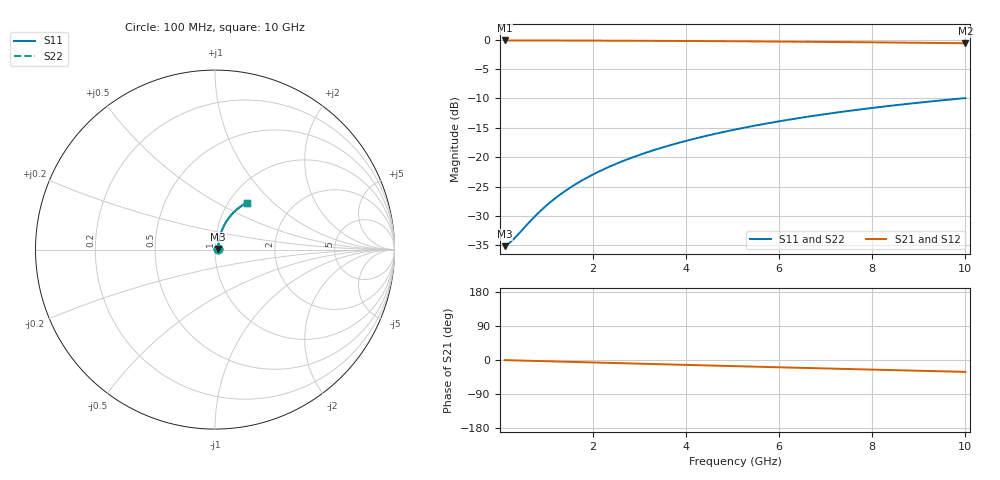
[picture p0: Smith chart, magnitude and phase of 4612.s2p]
# Hz S RI R 50.00
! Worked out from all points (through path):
!   100 points, 100 MHz to 10 GHz, reference 50 ohm
!   highest |S21| = -0.15 dB at 100 MHz (marker M1); lowest = -0.6 dB at 10 GHz (marker M2)
!   group delay of S21, straight-line fit = 8.72 ps
!   lowest |S11| = -35.1 dB at 100 MHz (marker M3), VSWR 1.04, Z = 51.7 + j0.349 ohm
!   |S11| at or under -10 dB: start of sweep to 9.936 GHz
!   |S22| runs from -35.1 to -10.0 dB; largest |S21 - S12| = 0
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1e8  0.0172 0.00337  0.9828 -0.00557  0.9828 -0.00557  0.0172 0.00337
2e8  0.0174 0.00673  0.9826 -0.0111  0.9826 -0.0111  0.0174 0.00673
3e8  0.0175 0.0101  0.9824 -0.0167  0.9824 -0.0167  0.0175 0.0101
6e8  0.0182 0.0202  0.9817 -0.0334  0.9817 -0.0334  0.0182 0.0202
8e8  0.0188 0.0269  0.981 -0.0445  0.981 -0.0445  0.0188 0.0269
9e8  0.0192 0.0302  0.9806 -0.05  0.9806 -0.05  0.0192 0.0302
1.1e9  0.02 0.0369  0.9796 -0.0611  0.9796 -0.0611  0.02 0.0369
1.4e9  0.0215 0.0468  0.9779 -0.0777  0.9779 -0.0777  0.0215 0.0468
1.6e9  0.0227 0.0535  0.9766 -0.0887  0.9766 -0.0887  0.0227 0.0535
1.8e9  0.0241 0.06  0.9751 -0.0997  0.9751 -0.0997  0.0241 0.06
2.1e9  0.0263 0.0698  0.9725 -0.1161  0.9725 -0.1161  0.0263 0.0698
2.5e9  0.0299 0.0827  0.9686 -0.1378  0.9686 -0.1378  0.0299 0.0827
2.9e9  0.034 0.0954  0.9639 -0.1593  0.9639 -0.1593  0.034 0.0954
3.4e9  0.0398 0.1109  0.9573 -0.1859  0.9573 -0.1859  0.0398 0.1109
3.8e9  0.0451 0.1231  0.9512 -0.2069  0.9512 -0.2069  0.0451 0.1231
4.2e9  0.051 0.1349  0.9446 -0.2275  0.9446 -0.2275  0.051 0.1349
5.1e9  0.0659 0.1604  0.9276 -0.2729  0.9276 -0.2729  0.0659 0.1604
5.9e9  0.081 0.1815  0.9103 -0.3117  0.9103 -0.3117  0.081 0.1815
6.7e9  0.0978 0.201  0.891 -0.349  0.891 -0.349  0.0978 0.201
7.5e9  0.1159 0.2187  0.87 -0.3845  0.87 -0.3845  0.1159 0.2187
8.4e9  0.1378 0.2365  0.8445 -0.4224  0.8445 -0.4224  0.1378 0.2365
1e10  0.1796 0.2623  0.7951 -0.4839  0.7951 -0.4839  0.1796 0.2623
